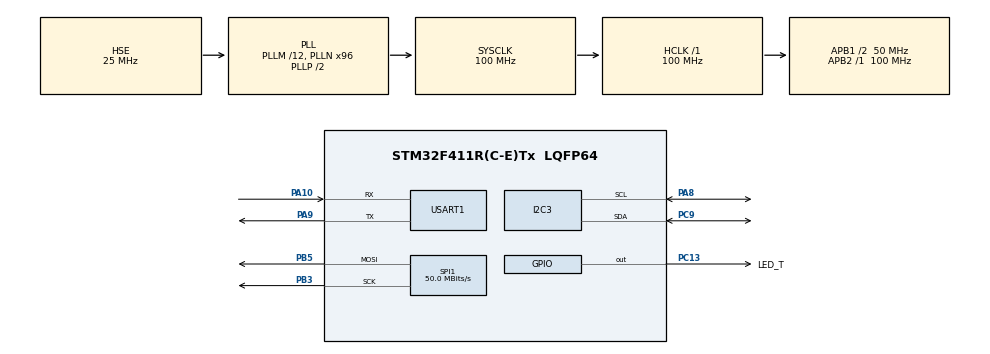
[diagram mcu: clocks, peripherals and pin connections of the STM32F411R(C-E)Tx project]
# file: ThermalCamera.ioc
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Dma.Request0=SPI1_TX
Dma.SPI1_TX.0.Direction=DMA_MEMORY_TO_PERIPH
Dma.SPI1_TX.0.FIFOMode=DMA_FIFOMODE_DISABLE
Dma.SPI1_TX.0.Instance=DMA2_Stream2
Dma.SPI1_TX.0.MemDataAlignment=DMA_MDATAALIGN_HALFWORD
Dma.SPI1_TX.0.MemInc=DMA_MINC_ENABLE
Dma.SPI1_TX.0.Mode=DMA_NORMAL
Dma.SPI1_TX.0.PeriphDataAlignment=DMA_PDATAALIGN_HALFWORD
Dma.SPI1_TX.0.PeriphInc=DMA_PINC_DISABLE
Dma.SPI1_TX.0.Priority=DMA_PRIORITY_LOW
I2C3.I2C_Mode=I2C_Fast
Mcu.Family=STM32F4
Mcu.Name=STM32F411R(C-E)Tx
Mcu.Package=LQFP64
NVIC.DMA2_Stream2_IRQn=true\:0\:0\:false\:false\:true\:false\:true\:true
NVIC.PriorityGroup=NVIC_PRIORITYGROUP_4
NVIC.TIM2_IRQn=true\:0\:0\:false\:false\:true\:true\:true\:true
PA10.Mode=Asynchronous
PA10.Signal=USART1_RX
PA13.Mode=Serial_Wire
PA13.Signal=SYS_JTMS-SWDIO
PA14.Mode=Serial_Wire
PA14.Signal=SYS_JTCK-SWCLK
PA8.Mode=I2C
PA8.Signal=I2C3_SCL
PA9.Mode=Asynchronous
PA9.Signal=USART1_TX
PB3.Mode=TX_Only_Simplex_Unidirect_Master
PB3.Signal=SPI1_SCK
PB5.Mode=TX_Only_Simplex_Unidirect_Master
PB5.Signal=SPI1_MOSI
PC13-ANTI_TAMP.GPIO_Label=LED_T
PC13-ANTI_TAMP.Signal=GPIO_Output
PC14-OSC32_IN.Mode=LSE-External-Oscillator
PC14-OSC32_IN.Signal=RCC_OSC32_IN
PC15-OSC32_OUT.Mode=LSE-External-Oscillator
PC15-OSC32_OUT.Signal=RCC_OSC32_OUT
PC9.Mode=I2C
PC9.Signal=I2C3_SDA
PH0\ -\ OSC_IN.Mode=HSE-External-Oscillator
PH0\ -\ OSC_IN.Signal=RCC_OSC_IN
PH1\ -\ OSC_OUT.Mode=HSE-External-Oscillator
PH1\ -\ OSC_OUT.Signal=RCC_OSC_OUT
ProjectManager.HeapSize=0x400
ProjectManager.StackSize=0xE00
ProjectManager.TargetToolchain=MDK-ARM V5.32
RCC.48MHZClocksFreq_Value=50000000
RCC.AHBFreq_Value=100000000
RCC.APB1CLKDivider=RCC_HCLK_DIV2
RCC.APB1Freq_Value=50000000
RCC.APB1TimFreq_Value=100000000
RCC.APB2Freq_Value=100000000
RCC.APB2TimFreq_Value=100000000
RCC.CortexFreq_Value=100000000
RCC.HCLKFreq_Value=100000000
RCC.HSE_VALUE=25000000
RCC.HSI_VALUE=16000000
RCC.PLLM=12
RCC.PLLN=96
RCC.PLLSourceVirtual=RCC_PLLSOURCE_HSE
RCC.SYSCLKFreq_VALUE=100000000
RCC.SYSCLKSource=RCC_SYSCLKSOURCE_PLLCLK
RCC.VCOOutputFreq_Value=200000000
SPI1.BaudRatePrescaler=SPI_BAUDRATEPRESCALER_2
SPI1.CLKPhase=SPI_PHASE_2EDGE
SPI1.CLKPolarity=SPI_POLARITY_HIGH
SPI1.CalculateBaudRate=50.0 MBits/s
SPI1.Direction=SPI_DIRECTION_2LINES
SPI1.Mode=SPI_MODE_MASTER
SPI1.VirtualType=VM_MASTER
TIM2.Period=1000 - 1
TIM2.Prescaler=100 - 1
USART1.VirtualMode=VM_ASYNC
VP_TIM2_VS_ClockSourceINT.Mode=Internal
board=custom

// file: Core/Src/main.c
/* USER CODE BEGIN Header */
/**
  ******************************************************************************
  * @file           : main.c
  * @brief          : Main program body
  ******************************************************************************
  * @attention
  *
  * Copyright (c) 2024 STMicroelectronics.
  * All rights reserved.
  *
  * This software is licensed under terms that can be found in the LICENSE file
  * in the root directory of this software component.
  * If no LICENSE file comes with this software, it is provided AS-IS.
  *
  ******************************************************************************
  */
/* USER CODE END Header */
#include "main.h"
#include "dma.h"
#include "i2c.h"
#include "spi.h"
#include "tim.h"
#include "usart.h"
#include "gpio.h"

/* USER CODE BEGIN Includes */
#include <string.h>
#include "delay.h"
#include "lcd.h"
#include "lcd_init.h"
#include "CST816.h"
#include "key.h"
#include "lvgl.h"
#include "lv_port_disp_template.h"
#include "lv_port_indev_template.h"
/* USER CODE END Includes */

void SystemClock_Config(void);

int main(void)
{

  /* MCU Configuration--------------------------------------------------------*/

  /* Reset of all peripherals, Initializes the Flash interface and the Systick. */
  HAL_Init();

  /* Configure the system clock */
  SystemClock_Config();

  /* Initialize all configured peripherals */
  MX_GPIO_Init();
  MX_DMA_Init();
  MX_I2C3_Init();
  MX_SPI1_Init();
  MX_USART1_UART_Init();
  MX_TIM2_Init();
  /* USER CODE BEGIN 2 */

	//lcd init
	LCD_Init();
	LCD_Fill(0, 0, LCD_W, LCD_H, BLACK);
	delay_ms(5);

	//touch init
	CST816_Init();

	//lvgl init
	lv_init();
	lv_port_disp_init();
	lv_port_indev_init();

	//tim init
	HAL_TIM_Base_Start_IT(&htim2);

		// 按钮
    lv_obj_t *myBtn = lv_btn_create(lv_scr_act());                               // 创建按钮; 父对象：当前活动屏幕
    lv_obj_set_pos(myBtn, 10, 10);                                               // 设置坐标
    lv_obj_set_size(myBtn, 120, 50);                                             // 设置大小

    // 按钮上的文本
    lv_obj_t *label_btn = lv_label_create(myBtn);                                // 创建文本标签，父对象：上面的btn按钮
    lv_obj_align(label_btn, LV_ALIGN_CENTER, 0, 0);                              // 对齐于：父对象
    lv_label_set_text(label_btn, "Test");                                        // 设置标签的文本

    // 独立的标签
    lv_obj_t *myLabel = lv_label_create(lv_scr_act());                           // 创建文本标签; 父对象：当前活动屏幕
    lv_label_set_text(myLabel, "Hello world!");                                  // 设置标签的文本
    lv_obj_align(myLabel, LV_ALIGN_CENTER, 0, 0);                                // 对齐于：父对象
    lv_obj_align_to(myBtn, myLabel, LV_ALIGN_OUT_TOP_MID, 0, -20);               // 对齐于：某对象
  /* USER CODE END 2 */

  /* Infinite loop */
  /* USER CODE BEGIN WHILE */
  while (1)
  {

		delay_ms(5);
		lv_timer_handler();
    /* USER CODE END WHILE */

  }
}

void SystemClock_Config(void)
{
  RCC_OscInitTypeDef RCC_OscInitStruct = {0};
  RCC_ClkInitTypeDef RCC_ClkInitStruct = {0};

  /** Configure the main internal regulator output voltage
  */
  __HAL_RCC_PWR_CLK_ENABLE();
  __HAL_PWR_VOLTAGESCALING_CONFIG(PWR_REGULATOR_VOLTAGE_SCALE1);

  /** Initializes the RCC Oscillators according to the specified parameters
  * in the RCC_OscInitTypeDef structure.
  */
  RCC_OscInitStruct.OscillatorType = RCC_OSCILLATORTYPE_HSE;
  RCC_OscInitStruct.HSEState = RCC_HSE_ON;
  RCC_OscInitStruct.PLL.PLLState = RCC_PLL_ON;
  RCC_OscInitStruct.PLL.PLLSource = RCC_PLLSOURCE_HSE;
  RCC_OscInitStruct.PLL.PLLM = 12;
  RCC_OscInitStruct.PLL.PLLN = 96;
  RCC_OscInitStruct.PLL.PLLP = RCC_PLLP_DIV2;
  RCC_OscInitStruct.PLL.PLLQ = 4;
  if (HAL_RCC_OscConfig(&RCC_OscInitStruct) != HAL_OK)
  {
    Error_Handler();
  }

  /** Initializes the CPU, AHB and APB buses clocks
  */
  RCC_ClkInitStruct.ClockType = RCC_CLOCKTYPE_HCLK|RCC_CLOCKTYPE_SYSCLK
                              |RCC_CLOCKTYPE_PCLK1|RCC_CLOCKTYPE_PCLK2;
  RCC_ClkInitStruct.SYSCLKSource = RCC_SYSCLKSOURCE_PLLCLK;
  RCC_ClkInitStruct.AHBCLKDivider = RCC_SYSCLK_DIV1;
  RCC_ClkInitStruct.APB1CLKDivider = RCC_HCLK_DIV2;
  RCC_ClkInitStruct.APB2CLKDivider = RCC_HCLK_DIV1;

  if (HAL_RCC_ClockConfig(&RCC_ClkInitStruct, FLASH_LATENCY_3) != HAL_OK)
  {
    Error_Handler();
  }
}

void Error_Handler(void)
{
  __disable_irq();
  while (1)
  {
  }
}
